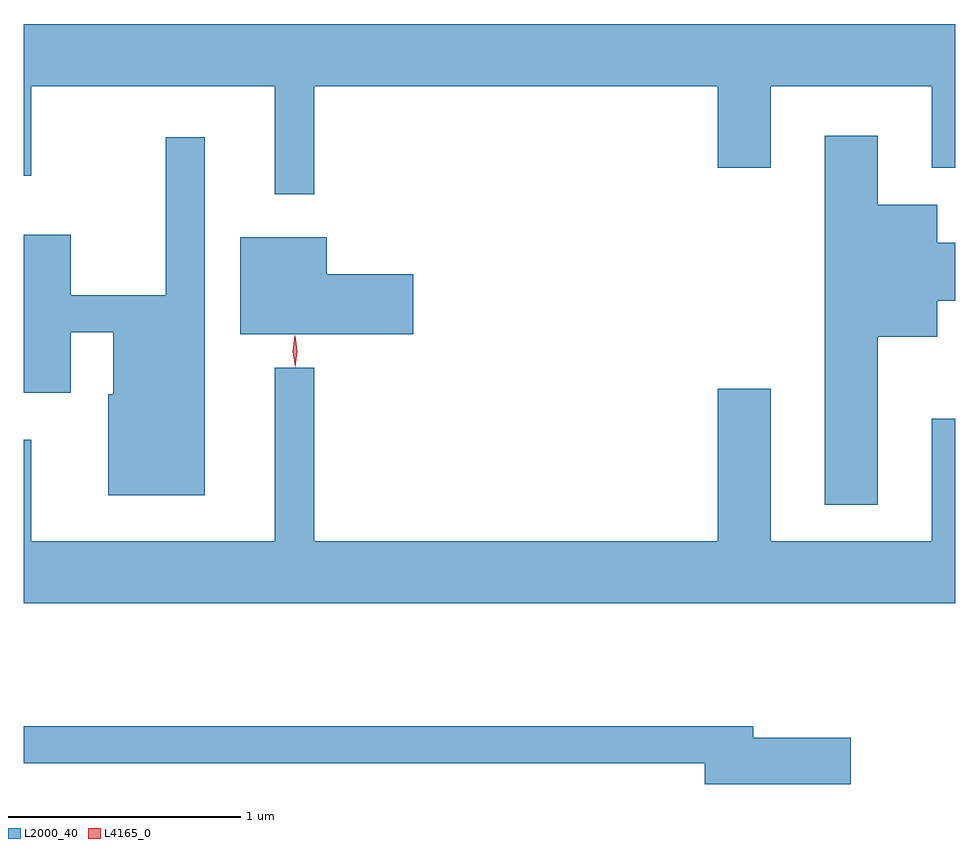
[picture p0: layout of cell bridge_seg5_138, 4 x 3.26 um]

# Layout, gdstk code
import gdstk
lib = gdstk.Library(unit=1e-6, precision=1e-09)
def P(c, l, *ps):  # polygons
    for p in ps: c.add(gdstk.Polygon(p, *l))
L2000_40 = (2000, 40)
L4165_0 = (4165, 0)

bridge_seg5_138 = lib.new_cell('bridge_seg5_138')
P(bridge_seg5_138, L2000_40, [(1078.649,1414.616),(1080.381,1414.616),(1080.381,1414.266),(1080.609,1414.266),(1080.609,1414.616),(1081.301,1414.616),(1081.301,1414.266),(1081.402,1414.266),(1081.402,1414.884),(1077.402,1414.884),(1077.402,1414.233),(1077.434,1414.233),(1077.434,1414.616),(1078.481,1414.616),(1078.481,1414.153),(1078.649,1414.153)],
  [(1081.069,1413.541),(1081.324,1413.541),(1081.324,1413.696),(1081.402,1413.696),(1081.402,1413.944),(1081.324,1413.944),(1081.324,1414.109),(1081.069,1414.109),(1081.069,1414.404),(1080.841,1414.404),(1080.841,1412.821),(1081.069,1412.821)],
  [(1078.179,1414.398),(1078.011,1414.398),(1078.011,1413.719),(1077.604,1413.719),(1077.604,1413.979),(1077.402,1413.979),(1077.402,1413.301),(1077.604,1413.301),(1077.604,1413.561),(1077.786,1413.561),(1077.786,1413.294),(1077.766,1413.294),(1077.766,1412.861),(1078.179,1412.861)],
  [(1079.074,1413.809),(1078.704,1413.809),(1078.704,1413.969),(1078.331,1413.969),(1078.331,1413.551),(1079.074,1413.551)],
  [(1081.402,1413.189),(1081.301,1413.189),(1081.301,1412.664),(1080.609,1412.664),(1080.609,1413.319),(1080.381,1413.319),(1080.381,1412.664),(1078.649,1412.664),(1078.649,1413.408),(1078.481,1413.408),(1078.481,1412.664),(1077.434,1412.664),(1077.434,1413.098),(1077.402,1413.098),(1077.402,1412.396),(1081.402,1412.396)],
  [(1080.954,1411.819),(1080.534,1411.819),(1080.534,1411.869),(1077.402,1411.869),(1077.402,1411.711),(1080.326,1411.711),(1080.326,1411.621),(1080.954,1411.621)])
P(bridge_seg5_138, L4165_0, [(1078.567,1413.41),(1078.567,1413.41),(1078.557,1413.478),(1078.566,1413.545),(1078.566,1413.546),(1078.567,1413.545),(1078.577,1413.478),(1078.568,1413.41)],
  [(1078.567,1413.413),(1078.567,1413.414),(1078.557,1413.476),(1078.566,1413.54),(1078.567,1413.54),(1078.567,1413.54),(1078.577,1413.477),(1078.568,1413.414)])

lib.write_gds('bridge_seg5_138.gds')
